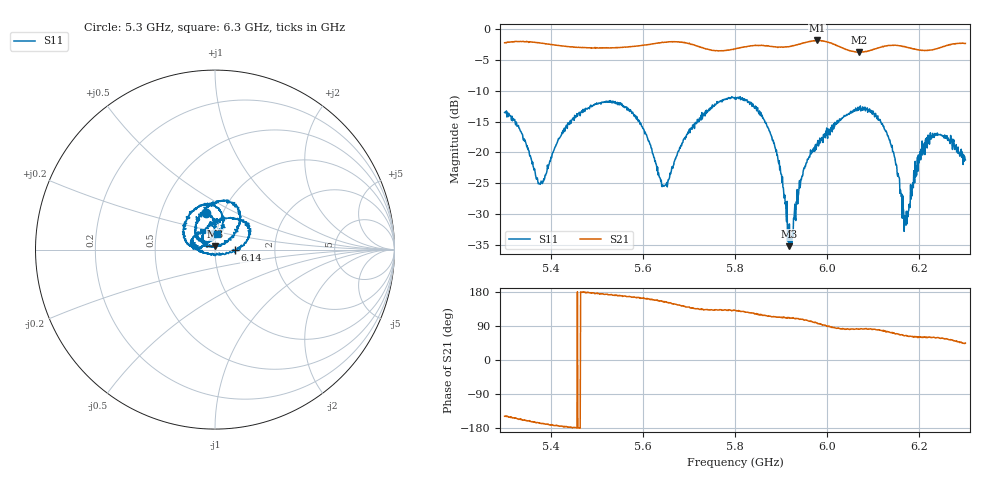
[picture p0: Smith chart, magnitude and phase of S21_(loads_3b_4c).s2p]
! NanoVNA-App
! Date: 2026-11-04 22:28:36
! Start: 5,3GHz Stop: 6,3GHz Points: 1001
! S-Parameter data: F S11 S21 S12 S22
# Hz S RI R 50
!  Frequency  S11_Real  S11_Imag  S21_Real  S21_Imag  S12_Real  S12_Imag  S22_Real  S22_Imag
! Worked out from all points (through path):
!   1001 points, 5.3 GHz to 6.3 GHz, reference 50 ohm
!   highest |S21| = -1.80 dB at 5.978 GHz (marker M1); lowest = -3.7 dB at 6.07 GHz (marker M2)
!   group delay of S21, straight-line fit = 451 ps
!   lowest |S11| = -35.2 dB at 5.917 GHz (marker M3), VSWR 1.04, Z = 50 + j1.73 ohm
!   |S11| at or under -10 dB: start of sweep to end of sweep
!   S12 and S22 are empty: the file has one direction only
!   S11 on the Smith chart (normalised r, x): 5.3 GHz: 0.84, +0.36; 6.14 GHz: 1.25, -0.01; 6.3 GHz: 1.01, +0.17
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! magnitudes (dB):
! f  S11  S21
! 5.3 GHz  -13.5  -2.2
! 5.334 GHz  -16.5  -2.0
! 5.378 GHz  -25.1  -2.2
! 5.467 GHz  -13.3  -3.0
! 5.568 GHz  -12.8  -2.9
! 5.605 GHz  -16.7  -2.5
! 5.634 GHz  -23.3  -2.2
! 5.649 GHz  -25.3  -2.1
! 5.706 GHz  -16.1  -2.4
! 5.8 GHz  -11.3  -3.2
! 5.875 GHz  -16.6  -2.7
! 5.898 GHz  -22.3  -2.9
! 5.917 GHz  -35.2  -2.8
! 5.967 GHz  -20.1  -1.9
! 5.978 GHz  -18.7  -1.8
! 6.07 GHz  -13.0  -3.7
! 6.134 GHz  -17.8  -2.6
! 6.14 GHz  -19.2  -2.6
! 6.171 GHz  -31.8  -2.9
! 6.201 GHz  -20.2  -3.4
! 6.224 GHz  -16.8  -3.4
! 6.3 GHz  -21.2  -2.3
